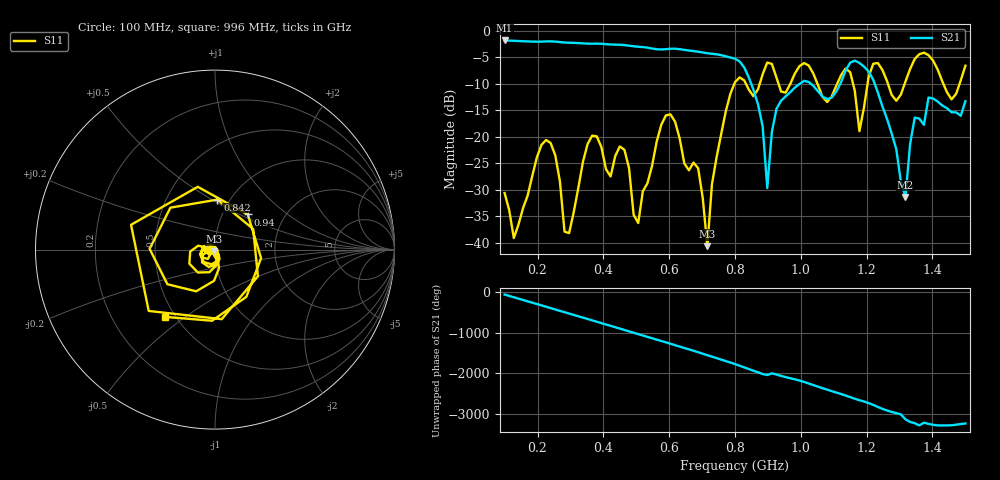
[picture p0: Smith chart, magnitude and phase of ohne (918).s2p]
! NanoVNA-App
! Date: 2025-09-25 14:27:56
! Start: 100MHz Stop: 1,5GHz Points: 101
! S-Parameter data: F S11 S21 S12 S22
# Hz S RI R 50
!  Frequency  S11_Real  S11_Imag  S21_Real  S21_Imag  S12_Real  S12_Imag  S22_Real  S22_Imag
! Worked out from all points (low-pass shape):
!   101 points, 100 MHz to 1.5 GHz, reference 50 ohm
!   highest |S21| = -1.79 dB at 100 MHz (marker M1); lowest = -31.4 dB at 1.318 GHz (marker M2)
!   |S21| within 3 dB of the highest: start of sweep to 772.4 MHz
!   lowest |S11| = -40.7 dB at 716 MHz (marker M3), VSWR 1.02, Z = 49.7 - j0.874 ohm
!   |S11| at or under -10 dB: start of sweep to 798 MHz; 833.3 MHz to 875 MHz (41.75 MHz wide, 4.89 % of centre); 1.051 GHz to 1.11 GHz (59.69 MHz wide, 5.52 % of centre) (the widest 3 of 7)
!   S12 and S22 are empty: the file has one direction only
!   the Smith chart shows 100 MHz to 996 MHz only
!   S11 on the Smith chart (normalised r, x): 100 MHz: 0.94, -0.01; 842 MHz: 0.88, +0.53; 940 MHz: 1.31, +0.55; 996 MHz: 0.44, -0.42
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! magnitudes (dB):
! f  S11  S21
! 100 MHz  -30.6  -1.8
! 128 MHz  -39.1  -1.9
! 226 MHz  -20.6  -2.0
! 296 MHz  -38.2  -2.2
! 338 MHz  -24.7  -2.4
! 464 MHz  -22.5  -2.7
! 506 MHz  -36.3  -3.0
! 576 MHz  -17.7  -3.5
! 688 MHz  -25.9  -3.9
! 716 MHz  -40.7  -4.2
! 800 MHz  -9.7  -5.3
! 842 MHz  -11.1  -8.8
! 898 MHz  -6.0  -29.7
! 940 MHz  -11.4  -13.2
! 996 MHz  -6.6  -10.0
! 1.038 GHz  -8.0  -10.4
! 1.178 GHz  -18.9  -6.0
! 1.22 GHz  -6.2  -9.2
! 1.276 GHz  -12.1  -19.4
! 1.318 GHz  -9.5  -31.4
! 1.346 GHz  -5.3  -16.4
! 1.5 GHz  -6.6  -13.3
